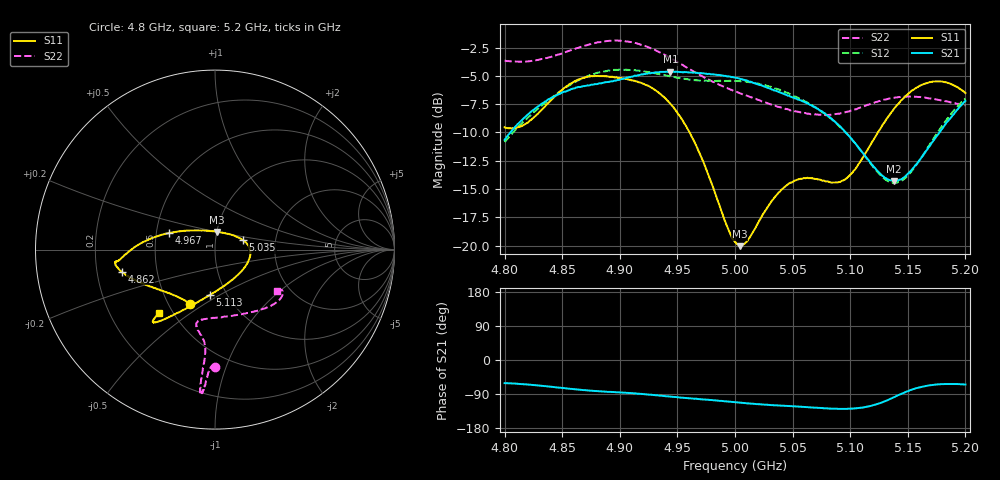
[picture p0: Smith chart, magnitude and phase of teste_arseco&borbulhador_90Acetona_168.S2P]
! Network Analyzer HP8722D
! Hewlett-Packard
! Data name: Linha & Wilkinson
! Saver's name: Rodrigo Anjos
! Comments: Teste da utilização de aquisição
! continua pelo VNA HP8722D
! Time and date: 17/4/2025 12:27
!  Frequency  S11  S21  S12  S22
# HZ  S  MA R 50
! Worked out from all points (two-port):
!   401 points, 4.8 GHz to 5.2 GHz, reference 50 ohm
!   highest |S21| = -4.62 dB at 4.944 GHz (marker M1); lowest = -14.3 dB at 5.138 GHz (marker M2)
!   |S21| within 3 dB of the highest: 4.83 GHz to 5.067 GHz (236.2 MHz wide, 4.77 % of centre); 5.196198 GHz to end of sweep
!   lowest |S11| = -20.1 dB at 5.004 GHz (marker M3), VSWR 1.22, Z = 50 + j9.98 ohm
!   |S11| at or under -10 dB: 4.961 GHz to 5.124 GHz (163.5 MHz wide, 3.24 % of centre)
!   |S22| runs from -8.5 to -1.9 dB; largest |S21 - S12| = 0.88
!   S11 on the Smith chart (normalised r, x): 4.8 GHz: 0.64, -0.44; 4.862 GHz: 0.31, -0.11; 4.967 GHz: 0.58, +0.12; 5.035 GHz: 1.36, +0.15; 5.113 GHz: 0.83, -0.45; 5.2 GHz: 0.42, -0.38
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4.8e9  0.3329 -114.3  0.2928 -61.1  0.2868 -175.4  0.6562 -90.0
4.819e9  0.347 -134.4  0.3741 -64.6  0.3622 -174.0  0.6511 -91.6
4.862e9  0.535 -166.7  0.4995 -77.5  0.5307 -177.3  0.7437 -94.0
4.867e9  0.5482 -168.7  0.5041 -79.0  0.546 -178.3  0.757 -94.1
4.9e9  0.5503 -173.3  0.5408 -85.6  0.5992 175.3  0.8045 -95.7
4.934e9  0.4733 -179.3  0.5826 -93.9  0.5739 171.4  0.7162 -96.0
4.944e9  0.4231 176.0  0.5873 -96.8  0.5587 171.7  0.6739 -95.8
4.967e9  0.2716 160.0  0.5799 -102.4  0.5373 173.6  0.5751 -95.4
4.993e9  0.1221 119.7  0.5588 -109.4  0.5335 175.7  0.4971 -98.1
5e9  0.1038 98.1  0.5528 -111.5  0.5335 176.0  0.4804 -99.6
5.004e9  0.09935 84.3  0.547 -112.5  0.5329 175.8  0.4717 -100.5
5.012e9  0.1073 58.7  0.5303 -114.5  0.5277 175.7  0.4559 -102.3
5.035e9  0.1648 18.8  0.4839 -119.6  0.4943 174.5  0.4148 -103.7
5.049e9  0.1898 4.7  0.4537 -121.8  0.463 173.9  0.3965 -100.2
5.067e9  0.1984 -14.4  0.4142 -125.3  0.4166 173.6  0.3809 -90.9
5.093e9  0.1934 -58.8  0.3285 -128.9  0.3277 173.8  0.3852 -70.6
5.113e9  0.2548 -96.2  0.2487 -124.4  0.2481 -179.9  0.4146 -55.1
5.134e9  0.3769 -117.4  0.1947 -104.0  0.1911 -156.7  0.4462 -43.2
5.138e9  0.4022 -119.7  0.1924 -98.2  0.1892 -150.4  0.4496 -41.3
5.151e9  0.4712 -125.5  0.2096 -81.1  0.2065 -130.7  0.4556 -36.7
5.17e9  0.5282 -129.8  0.2798 -66.5  0.2845 -112.6  0.4466 -32.2
5.2e9  0.472 -131.5  0.4354 -64.7  0.4466 -106.8  0.4165 -33.7
